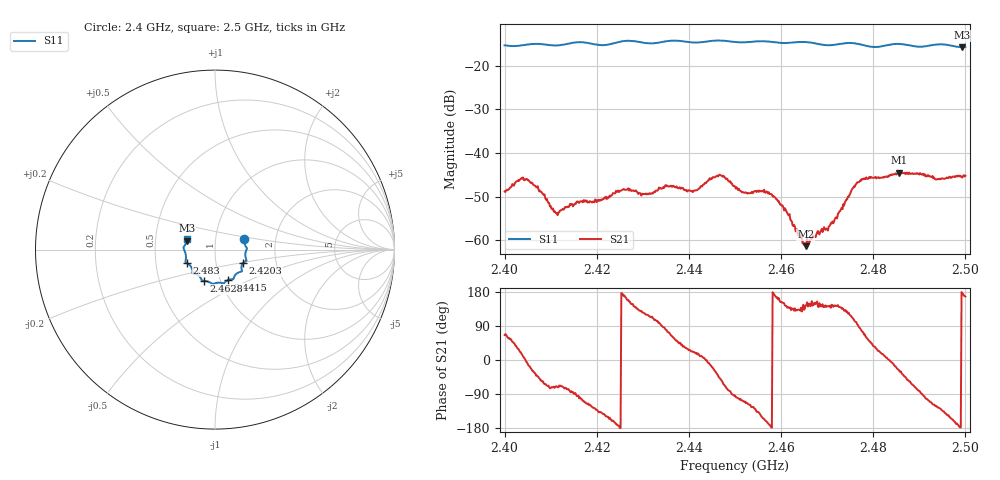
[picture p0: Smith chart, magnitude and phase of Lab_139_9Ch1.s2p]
# Hz S RI R 50
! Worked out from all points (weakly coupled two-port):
!   601 points, 2.4 GHz to 2.5 GHz, reference 50 ohm
!   highest |S21| = -44.45 dB at 2.4857 GHz (marker M1); lowest = -61.3 dB at 2.4653 GHz (marker M2)
!   lowest |S11| = -15.7 dB at 2.4993 GHz (marker M3), VSWR 1.39, Z = 36.4 + j3.68 ohm
!   |S11| at or under -10 dB: start of sweep to end of sweep
!   S12 and S22 are empty: the file has one direction only
!   S11 on the Smith chart (normalised r, x): 2.4 GHz: 1.38, +0.16; 2.4203 GHz: 1.35, -0.21; 2.4415 GHz: 1.09, -0.38; 2.4628 GHz: 0.83, -0.30; 2.483 GHz: 0.73, -0.11; 2.5 GHz: 0.73, +0.09
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2.4e9  0.1618 0.0564  0.00147 0.00333  0 0  0 0
2.404333e9  0.172 0.0172  0.00487 0.000356  0 0  0 0
2.408167e9  0.1766 0.00214  0.00191 -0.0029  0 0  0 0
2.411167e9  0.1692 -0.0224  0.000718 -0.00192  0 0  0 0
2.416667e9  0.1754 -0.0618  -0.000671 -0.00271  0 0  0 0
2.420333e9  0.1563 -0.0748  -0.00212 -0.00201  0 0  0 0
2.425833e9  0.1507 -0.1182  -0.00381 0.000737  0 0  0 0
2.433333e9  0.1086 -0.148  -0.000548 0.00378  0 0  0 0
2.4415e9  0.0732 -0.169  0.00357 0.00111  0 0  0 0
2.4465e9  0.0477 -0.1887  0.00389 -0.00399  0 0  0 0
2.45e9  0.0298 -0.1846  -0.000255 -0.00412  0 0  0 0
2.457833e9  -0.0228 -0.1863  -0.0034 -0.000194  0 0  0 0
2.462833e9  -0.0623 -0.1742  -0.000971 0.00115  0 0  0 0
2.465333e9  -0.0725 -0.1721  -0.000689 0.000514  0 0  0 0
2.466667e9  -0.0753 -0.1673  -0.00095 0.000435  0 0  0 0
2.471667e9  -0.1071 -0.1367  -0.00139 0.00107  0 0  0 0
2.476667e9  -0.1254 -0.1265  -0.000206 0.00462  0 0  0 0
2.483e9  -0.1543 -0.0764  0.00531 0.000514  0 0  0 0
2.483333e9  -0.1565 -0.0751  0.00554 7.05e-05  0 0  0 0
2.485667e9  -0.1642 -0.0679  0.00523 -0.00293  0 0  0 0
2.499333e9  -0.1556 0.0493  -0.00523 0.000406  0 0  0 0
2.5e9  -0.1536 0.0579  -0.00536 0.0012  0 0  0 0
